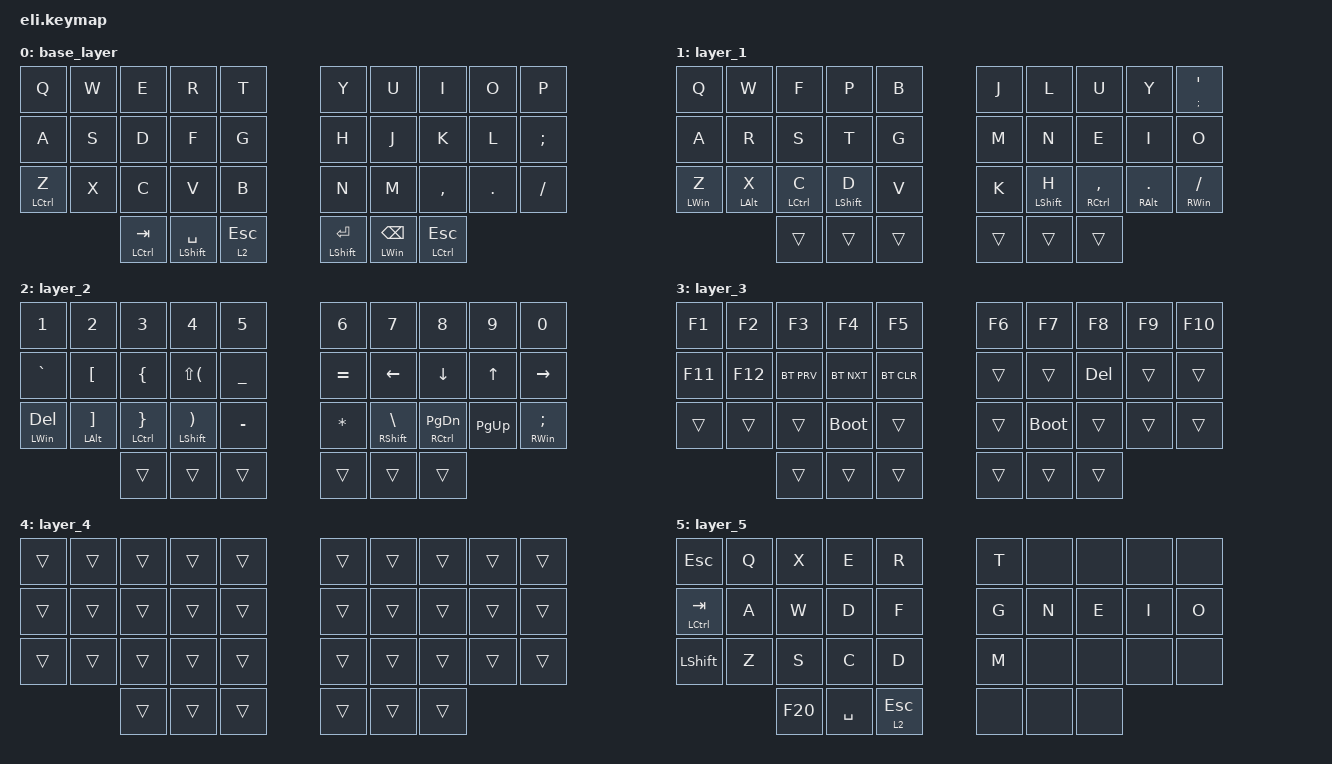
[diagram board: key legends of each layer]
/*
 * Copyright (c) 2020 The ZMK Contributors
 *
 * SPDX-License-Identifier: MIT
 */

#include <behaviors.dtsi>
#include <dt-bindings/zmk/bt.h>
#include <dt-bindings/zmk/keys.h>

/ {
    combos {
        compatible = "zmk,combos";

        colemak {
            bindings = <&tog 1>;
            key-positions = <15 19 14 10>;
            require-prior-idle-ms = <200>;
        };

        one-hand-toggle {
            bindings = <&tog 1>;
            key-positions = <17 15 19>;
            require-prior-idle-ms = <200>;
        };

        fkeys {
            bindings = <&sl 3>;
            key-positions = <25 29>;
        };

        underscore {
            bindings = <&kp UNDER>;
            key-positions = <16 18>;
            require-prior-idle-ms = <200>;
        };

        rt2 {
            bindings = <&kp MINUS>;
            key-positions = <26 27>;
            require-prior-idle-ms = <200>;
        };

        rb2 {
            bindings = <&kp PLUS>;
            key-positions = <6 7>;
            require-prior-idle-ms = <200>;
        };

        tilde {
            bindings = <&kp TILDE>;
            key-positions = <12 13>;
            require-prior-idle-ms = <200>;
            timeout-ms = <30>;
        };

        eq {
            bindings = <&kp EQUAL>;
            key-positions = <16 17>;
            require-prior-idle-ms = <200>;
            timeout-ms = <30>;
        };

        semi2 {
            bindings = <&kp SEMI>;
            key-positions = <18 17>;
            require-prior-idle-ms = <200>;
            timeout-ms = <30>;
        };

        and {
            bindings = <&kp AMPS>;
            key-positions = <2 3>;
            require-prior-idle-ms = <200>;
        };

        backslash {
            bindings = <&kp BACKSLASH>;
            key-positions = <27 28>;
            require-prior-idle-ms = <200>;
        };

        pipe {
            bindings = <&pipe>;
            key-positions = <11 13>;
            require-prior-idle-ms = <200>;
        };

        paren {
            bindings = <&paren>;
            key-positions = <11 12>;
            require-prior-idle-ms = <200>;
        };

        bracket {
            bindings = <&kp LEFT_BRACKET>;
            key-positions = <21 22>;
            require-prior-idle-ms = <200>;
        };

        arrow {
            bindings = <&arrow>;
            key-positions = <21 23>;
            require-prior-idle-ms = <200>;
        };

        star {
            bindings = <&kp STAR>;
            key-positions = <7 8>;
            require-prior-idle-ms = <200>;
        };

        vol_up {
            bindings = <&kp C_VOL_UP>;
            key-positions = <3 4>;
            require-prior-idle-ms = <200>;
        };

        vol_down {
            bindings = <&kp C_VOL_DN>;
            key-positions = <13 14>;
            require-prior-idle-ms = <200>;
        };

        play_pause {
            bindings = <&kp K_PLAY_PAUSE>;
            key-positions = <23 24>;
            require-prior-idle-ms = <200>;
        };

        grave {
            bindings = <&kp GRAVE>;
            key-positions = <23 22>;
            timeout-ms = <30>;
            require-prior-idle-ms = <200>;
        };

        caret {
            bindings = <&kp CARET>;
            key-positions = <28 26>;
            require-prior-idle-ms = <200>;
        };

        brace {
            bindings = <&brace>;
            key-positions = <2 1>;
            require-prior-idle-ms = <200>;
        };

        gaming {
            bindings = <&tog 5>;
            key-positions = <5 9>;
        };
    };

    behaviors {
        capsctr: capsctr {
            compatible = "zmk,behavior-hold-tap";
            label = "CAPSCTR";
            bindings = <&kp>, <&kp>;

            #binding-cells = <2>;
            tapping-term-ms = <200>;
            flavor = "balanced";
            quick-tap-ms = <200>;
            require-prior-idle-ms = <125>;
            retro-tap;
        };

        left_hr_mods: left_hr_mods {
            compatible = "zmk,behavior-hold-tap";
            label = "LEFT_HR_MODS";
            bindings = <&kp>, <&kp>;

            #binding-cells = <2>;
            tapping-term-ms = <150>;
            flavor = "tap-preferred";
            require-prior-idle-ms = <150>;
            quick-tap-ms = <170>;
            hold-trigger-key-positions = <5 15 25 16 6 8 5 6 7 8 9 15 16 17 18 19 25 26 27 28 29 33 34 35 32 31 30>;
            retro-tap;
        };

        right_hr_mods: right_hr_mods {
            compatible = "zmk,behavior-hold-tap";
            label = "RIGHT_HR_MODS";
            bindings = <&kp>, <&kp>;

            #binding-cells = <2>;
            tapping-term-ms = <150>;
            flavor = "tap-preferred";
            require-prior-idle-ms = <150>;
            quick-tap-ms = <170>;
            hold-trigger-key-positions = <0 1 3 4 10 11 12 13 14 20 21 22 23 24 2 30 31 32 33 34 35>;
            retro-tap;
        };

        hold_or_tap_press: hold_or_tap_press {
            compatible = "zmk,behavior-hold-tap";
            label = "HOLD_OR_TAP_PRESS";
            bindings = <&kp>, <&kp>;

            #binding-cells = <2>;
            tapping-term-ms = <150>;
            flavor = "balanced";
        };

        paren: paren {
            compatible = "zmk,behavior-mod-morph";
            label = "PAREN";
            bindings = <&kp LEFT_PARENTHESIS>, <&kp RIGHT_PARENTHESIS>;

            #binding-cells = <0>;
            mods = <(MOD_LSFT|MOD_RSFT)>;
        };

        brace: brace {
            compatible = "zmk,behavior-mod-morph";
            label = "BRACE";
            bindings = <&kp LEFT_BRACE>, <&kp RIGHT_BRACE>;

            #binding-cells = <0>;
            mods = <(MOD_LSFT|MOD_RSFT)>;
        };
    };

    macros {
        pipe: pipe {
            compatible = "zmk,behavior-macro";
            #binding-cells = <0>;
            bindings = <&kp PIPE &kp GREATER_THAN>;
            label = "PIPE";
        };

        arrow: arrow {
            compatible = "zmk,behavior-macro";
            #binding-cells = <0>;
            bindings = <&kp MINUS &kp GT>;
            label = "ARROW";
        };
    };

    keymap {
        compatible = "zmk,keymap";

        // This is a sample keymap intended to be replaced with your own

        base_layer {
            bindings = <
  &kp Q             &kp W  &kp E               &kp R                      &kp T           &kp Y                      &kp U                        &kp I               &kp O    &kp P
  &kp A             &kp S  &kp D               &kp F                      &kp G           &kp H                      &kp J                        &kp K               &kp L    &kp SEMI
  &capsctr LCTRL Z  &kp X  &kp C               &kp V                      &kp B           &kp N                      &kp M                        &kp COMMA           &kp DOT  &kp SLASH
                           &capsctr LCTRL TAB  &capsctr LEFT_SHIFT SPACE  &lt 2 ESCAPE    &capsctr LEFT_SHIFT ENTER  &capsctr LEFT_WIN BACKSPACE  &capsctr LCTRL ESC
            >;
        };

        layer_1 {
            bindings = <
  &kp Q                     &kp W                     &kp F                  &kp P                       &kp B     &kp J   &kp L                        &kp U                       &kp Y                            &hold_or_tap_press SEMI APOS
  &kp A                     &kp R                     &kp S                  &kp T                       &kp G     &kp M   &kp N                        &kp E                       &kp I                            &kp O
  &left_hr_mods LEFT_WIN Z  &left_hr_mods LEFT_ALT X  &left_hr_mods LCTRL C  &left_hr_mods LEFT_SHIFT D  &kp V     &kp K   &right_hr_mods LEFT_SHIFT H  &right_hr_mods RCTRL COMMA  &right_hr_mods RIGHT_ALT PERIOD  &right_hr_mods RIGHT_WIN SLASH
                                                      &trans                 &trans                      &trans    &trans  &trans                       &trans
            >;
        };

        layer_2 {
            bindings = <
  &kp N1                         &kp N2                                &kp N3                           &kp N4                                      &kp N5       &kp N6        &kp N7                                &kp N8                          &kp N9       &kp N0
  &kp GRAVE                      &kp LEFT_BRACKET                      &kp LEFT_BRACE                   &kp LS(LPAR)                                &kp UNDER    &kp EQUAL     &kp LEFT                              &kp DOWN                        &kp UP       &kp RIGHT
  &left_hr_mods LEFT_WIN DELETE  &left_hr_mods LEFT_ALT RIGHT_BRACKET  &left_hr_mods LCTRL RIGHT_BRACE  &left_hr_mods LEFT_SHIFT RIGHT_PARENTHESIS  &kp MINUS    &kp ASTERISK  &right_hr_mods RIGHT_SHIFT BACKSLASH  &right_hr_mods RCTRL PAGE_DOWN  &kp PAGE_UP  &right_hr_mods RIGHT_WIN SEMI
                                                                       &trans                           &trans                                      &trans       &trans        &trans                                &trans
            >;
        };

        layer_3 {
            bindings = <
  &kp F1   &kp F2   &kp F3      &kp F4       &kp F5        &kp F6  &kp F7       &kp F8      &kp F9  &kp F10
  &kp F11  &kp F12  &bt BT_PRV  &bt BT_NXT   &bt BT_CLR    &trans  &trans       &kp DELETE  &trans  &trans
  &trans   &trans   &trans      &bootloader  &trans        &trans  &bootloader  &trans      &trans  &trans
                    &trans      &trans       &trans        &trans  &trans       &trans
            >;
        };

        layer_4 {
            bindings = <
  &trans  &trans  &trans  &trans  &trans    &trans  &trans  &trans  &trans  &trans
  &trans  &trans  &trans  &trans  &trans    &trans  &trans  &trans  &trans  &trans
  &trans  &trans  &trans  &trans  &trans    &trans  &trans  &trans  &trans  &trans
                  &trans  &trans  &trans    &trans  &trans  &trans
            >;
        };

        layer_5 {
            bindings = <
  &kp ESC                    &kp Q  &kp X    &kp E      &kp R           &kp T  &none  &none  &none  &none
  &capsctr LEFT_CONTROL TAB  &kp A  &kp W    &kp D      &kp F           &kp G  &kp N  &kp E  &kp I  &kp O
  &kp LEFT_SHIFT             &kp Z  &kp S    &kp C      &kp D           &kp M  &none  &none  &none  &none
                                    &kp F20  &kp SPACE  &lt 2 ESCAPE    &none  &none  &none
            >;
        };
    };
};
